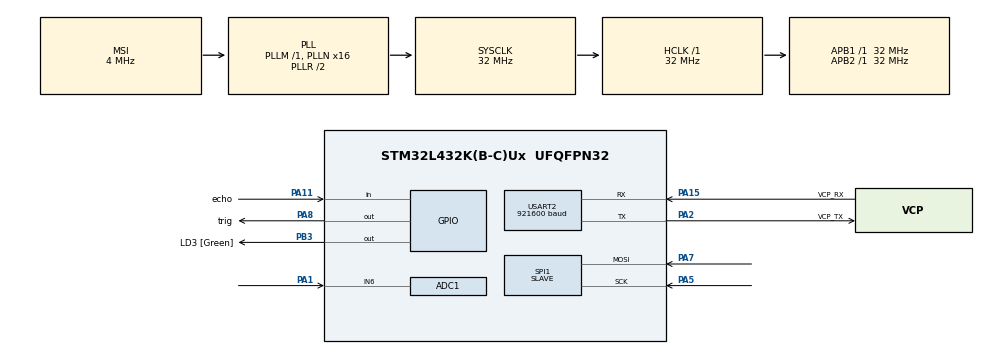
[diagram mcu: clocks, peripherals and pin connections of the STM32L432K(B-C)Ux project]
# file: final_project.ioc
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ADC1.Channel-0\#ChannelRegularConversion=ADC_CHANNEL_6
ADC1.NbrOfConversionFlag=1
ADC1.OffsetNumber-0\#ChannelRegularConversion=ADC_OFFSET_NONE
ADC1.Rank-0\#ChannelRegularConversion=1
ADC1.Resolution=ADC_RESOLUTION_8B
ADC1.SamplingTime-0\#ChannelRegularConversion=ADC_SAMPLETIME_2CYCLES_5
ADC1.master=1
Dma.Request0=SPI1_RX
Dma.Request1=USART2_TX
Dma.SPI1_RX.0.Direction=DMA_PERIPH_TO_MEMORY
Dma.SPI1_RX.0.Instance=DMA1_Channel2
Dma.SPI1_RX.0.MemDataAlignment=DMA_MDATAALIGN_HALFWORD
Dma.SPI1_RX.0.MemInc=DMA_MINC_ENABLE
Dma.SPI1_RX.0.Mode=DMA_CIRCULAR
Dma.SPI1_RX.0.PeriphDataAlignment=DMA_PDATAALIGN_HALFWORD
Dma.SPI1_RX.0.PeriphInc=DMA_PINC_DISABLE
Dma.SPI1_RX.0.Priority=DMA_PRIORITY_LOW
Dma.USART2_TX.1.Direction=DMA_MEMORY_TO_PERIPH
Dma.USART2_TX.1.Instance=DMA1_Channel7
Dma.USART2_TX.1.MemDataAlignment=DMA_MDATAALIGN_BYTE
Dma.USART2_TX.1.MemInc=DMA_MINC_ENABLE
Dma.USART2_TX.1.Mode=DMA_NORMAL
Dma.USART2_TX.1.PeriphDataAlignment=DMA_PDATAALIGN_BYTE
Dma.USART2_TX.1.PeriphInc=DMA_PINC_DISABLE
Dma.USART2_TX.1.Priority=DMA_PRIORITY_LOW
Mcu.Family=STM32L4
Mcu.Name=STM32L432K(B-C)Ux
Mcu.Package=UFQFPN32
NVIC.DMA1_Channel2_IRQn=true\:0\:0\:false\:false\:true\:false\:true\:true
NVIC.DMA1_Channel7_IRQn=true\:0\:0\:false\:false\:true\:false\:true\:true
NVIC.PriorityGroup=NVIC_PRIORITYGROUP_4
NVIC.USART2_IRQn=true\:0\:0\:false\:false\:true\:true\:true\:true
PA0.GPIO_Label=MCO [High speed clock in]
PA0.Mode=HSE-External-Clock-Source-for-LittleOrca
PA0.Signal=RCC_CK_IN
PA1.Signal=ADCx_IN6
PA11.GPIO_Label=echo
PA11.Signal=GPIO_Input
PA13\ (JTMS-SWDIO).GPIO_Label=SWDIO
PA13\ (JTMS-SWDIO).Mode=Serial_Wire
PA13\ (JTMS-SWDIO).Signal=SYS_JTMS-SWDIO
PA14\ (JTCK-SWCLK).GPIO_Label=SWCLK
PA14\ (JTCK-SWCLK).Mode=Serial_Wire
PA14\ (JTCK-SWCLK).Signal=SYS_JTCK-SWCLK
PA15\ (JTDI).GPIO_Label=VCP_RX
PA15\ (JTDI).Mode=Asynchronous
PA15\ (JTDI).Signal=USART2_RX
PA2.GPIO_Label=VCP_TX
PA2.Mode=Asynchronous
PA2.Signal=USART2_TX
PA5.Mode=RX_Only_Simplex_Unidirect_Slave
PA5.Signal=SPI1_SCK
PA7.Mode=RX_Only_Simplex_Unidirect_Slave
PA7.Signal=SPI1_MOSI
PA8.GPIO_Label=trig
PA8.Signal=GPIO_Output
PB3\ (JTDO-TRACESWO).GPIO_Label=LD3 [Green]
PB3\ (JTDO-TRACESWO).Signal=GPIO_Output
PC14-OSC32_IN\ (PC14).Mode=LSE-External-Oscillator
PC14-OSC32_IN\ (PC14).Signal=RCC_OSC32_IN
PC15-OSC32_OUT\ (PC15).Mode=LSE-External-Oscillator
PC15-OSC32_OUT\ (PC15).Signal=RCC_OSC32_OUT
ProjectManager.HeapSize=0x200
ProjectManager.StackSize=0x400
ProjectManager.TargetToolchain=STM32CubeIDE
RCC.ADCFreq_Value=32000000
RCC.AHBFreq_Value=32000000
RCC.APB1Freq_Value=32000000
RCC.APB1TimFreq_Value=32000000
RCC.APB2Freq_Value=32000000
RCC.APB2TimFreq_Value=32000000
RCC.CortexFreq_Value=32000000
RCC.HCLKFreq_Value=32000000
RCC.HSE_VALUE=8000000
RCC.HSI16_VALUE=16000000
RCC.HSI48_VALUE=48000000
RCC.HSI_VALUE=16000000
RCC.MSI_VALUE=4000000
RCC.PLLMUL=RCC_PLLMUL_4
RCC.PLLN=16
RCC.PLLSAI1N=16
RCC.SYSCLKFreq_VALUE=32000000
RCC.SYSCLKSource=RCC_SYSCLKSOURCE_PLLCLK
RCC.USBFreq_Value=32000000
RCC.VCOOutputFreq_Value=64000000
SH.ADCx_IN6.0=ADC1_IN6,IN6-Single-Ended
SPI1.DataSize=SPI_DATASIZE_16BIT
SPI1.Direction=SPI_DIRECTION_2LINES_RXONLY
SPI1.Mode=SPI_MODE_SLAVE
SPI1.VirtualType=VM_SLAVE
TIM16.Prescaler=31
TIM6.Prescaler=31999
TIM7.Prescaler=31
USART2.BaudRate=921600
USART2.VirtualMode-Asynchronous=VM_ASYNC
VP_TIM16_VS_ClockSourceINT.Mode=Enable_Timer
VP_TIM6_VS_ClockSourceINT.Mode=Enable_Timer
VP_TIM7_VS_ClockSourceINT.Mode=Enable_Timer
board=NUCLEO-L432KC

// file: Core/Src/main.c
/* USER CODE BEGIN Header */
/**
  ******************************************************************************
  * @file           : main.c
  * @brief          : Main program body
  ******************************************************************************
  * @attention
  *
  * Copyright (c) 2026 STMicroelectronics.
  * All rights reserved.
  *
  * This software is licensed under terms that can be found in the LICENSE file
  * in the root directory of this software component.
  * If no LICENSE file comes with this software, it is provided AS-IS.
  *
  ******************************************************************************
  */
/* USER CODE END Header */
#include "main.h"

ADC_HandleTypeDef hadc1;

SPI_HandleTypeDef hspi1;
DMA_HandleTypeDef hdma_spi1_rx;

TIM_HandleTypeDef htim6;
TIM_HandleTypeDef htim7;
TIM_HandleTypeDef htim16;

UART_HandleTypeDef huart2;
DMA_HandleTypeDef hdma_usart2_tx;

/* USER CODE BEGIN PV */
// Processing STM
uint16_t previous_sample = 0;
uint16_t first_sample = 1;
uint16_t current_sample = 0;
uint16_t filtered_sample = 0;
uint16_t avg;
uint8_t rx_byte[2] = {0,0};
uint8_t cmDist = 0;
int manual = 0;
int distance = 0;
int uart_rx_needs_rearm = 1;
int read = 0;
int timestart = 0;
int time = 0;
uint16_t spi_rx_buffer[4800];           // Circular buffer for incoming mic data
// 12 -> 8 is 1.5x 4800x1.5=3600
uint8_t uart_tx_buffer_half1[3600];    // Outgoing buffer for the first half
uint8_t uart_tx_buffer_half2[3600];    // Outgoing buffer for the second half
/* USER CODE END PV */

void SystemClock_Config(void);
static void MX_GPIO_Init(void);
static void MX_DMA_Init(void);
static void MX_USART2_UART_Init(void);
static void MX_SPI1_Init(void);
static void MX_TIM16_Init(void);
static void MX_ADC1_Init(void);
static void MX_TIM7_Init(void);
static void MX_TIM6_Init(void);

/* USER CODE BEGIN 0 */
// moving average filter of length 2 with outlier removal
uint16_t moving_average_filter(uint16_t current_sample){
    if (first_sample){
        avg = current_sample;
        first_sample = 0;
    } else {
		//filter out outliers and replace with previous sample (up to double down to half)
    	uint32_t upper = ((uint32_t)previous_sample+1)*2; //double
    	uint32_t lower = ((uint32_t)previous_sample+1)/2; //half
    	if((current_sample<lower) || (current_sample>upper)){
    		current_sample = previous_sample; // if not within replace with previous sample to remove
    	}
    	// find average
        avg = (previous_sample + current_sample) / 2;
    }
    previous_sample = current_sample;
    return avg;
}

// function to get cm value from ultrasonic sensor
int ultraRead(){
	// pulse the trigger for 10us
	__HAL_TIM_SET_COUNTER(&htim16, 0);
	HAL_GPIO_WritePin(trig_GPIO_Port, trig_Pin, 1);
	while(__HAL_TIM_GET_COUNTER(&htim16) <= 10){;}
	HAL_GPIO_WritePin(trig_GPIO_Port, trig_Pin, 0);

	// timeout variables
	uint32_t timeout_counter = 0;
	const uint32_t MAX_TIMEOUT_START = 4000; // 4ms max wait for sensor to react
	const uint32_t MAX_TIMEOUT_RETURN = 4000;

	// wait for Echo to go HIGH
	while(HAL_GPIO_ReadPin(echo_GPIO_Port,echo_Pin)==0){
		timeout_counter++;
		if (timeout_counter > MAX_TIMEOUT_START) {return 999;} // fake distance as error
	}

	__HAL_TIM_SET_COUNTER(&htim16, 0); // reset counter to 0 once echo is high

	// wait for Echo to go LOW (stays high while sound waves travel back)
	while(HAL_GPIO_ReadPin(echo_GPIO_Port,echo_Pin)==1){
		if (__HAL_TIM_GET_COUNTER(&htim16) > MAX_TIMEOUT_RETURN) {return 999;} // fake distance as error
	}

	// get time for the soundwave to return calculate and return distance (cm)
	int time = __HAL_TIM_GET_COUNTER(&htim16);
	int cm = time * 0.01715;
	return cm;
}

/* USER CODE END 0 */

int main(void)
{

  /* MCU Configuration--------------------------------------------------------*/

  /* Reset of all peripherals, Initializes the Flash interface and the Systick. */
  HAL_Init();

  /* Configure the system clock */
  SystemClock_Config();

  /* Initialize all configured peripherals */
  MX_GPIO_Init();
  MX_DMA_Init();
  MX_USART2_UART_Init();
  MX_SPI1_Init();
  MX_TIM16_Init();
  MX_ADC1_Init();
  MX_TIM7_Init();
  MX_TIM6_Init();

  /* Infinite loop */
  /* USER CODE BEGIN WHILE */
  uint32_t last_ping_time = 0;
  HAL_TIM_Base_Start(&htim7);
  HAL_TIM_Base_Start(&htim6);
  HAL_TIM_Base_Start(&htim16);
  while (1)
  {
	  	// restart the uart2 interrupt when needed
		if (uart_rx_needs_rearm) {
			if (HAL_UART_Receive_IT(&huart2, rx_byte, 2) == HAL_OK) {
				uart_rx_needs_rearm = 0;
			}
		}

		// send data for amount of time needed
		if (manual){
			if (!timestart){
				__HAL_TIM_SET_COUNTER(&htim6, 0);
				timestart = 1;
			} else if (__HAL_TIM_GET_COUNTER(&htim6) >= time+50) {
				HAL_SPI_DMAStop(&hspi1);
				timestart = 0;
				manual = 0;
			}
		}

		// send data when object within distance
		if (distance) {
			//schmitt triggering because of ultrasonic jitter
			uint8_t high = rx_byte[1] * 1.2;
			uint8_t low  = rx_byte[1] * 0.8;
			static int missing_count = 0;

			// check distance every 50 milliseconds
			if (HAL_GetTick() - last_ping_time > 100) {
				last_ping_time = HAL_GetTick(); // Reset the clock
				int current_dist = ultraRead(); //get distance

				if (current_dist < low && read==0) {
						read = 1; // object close, start recording
						// flush spi buffer before dma recording
						__HAL_SPI_CLEAR_OVRFLAG(&hspi1); // clear any overrun error
						uint32_t dummy;
						while (__HAL_SPI_GET_FLAG(&hspi1, SPI_FLAG_RXNE)) { // while receive buffer not empty
							dummy = hspi1.Instance->DR;  // read the spi data register into the dummy variable (not saved)
						}
						// start the recording
						HAL_SPI_Receive_DMA(&hspi1, spi_rx_buffer, 4800);

				} else if (current_dist > high && read==1) {
					// due to unreliability make sure 5 reading in a row have no object before turning off
					missing_count++;
					if (missing_count >= 5) {
					  HAL_SPI_DMAStop(&hspi1);
					  read = 0;
					}
				} else if (current_dist < high) {
					// reset the counter if object has return within 5 readings
					missing_count = 0;
				}
			}
		}
    /* USER CODE END WHILE */

  }
}

void SystemClock_Config(void)
{
  RCC_OscInitTypeDef RCC_OscInitStruct = {0};
  RCC_ClkInitTypeDef RCC_ClkInitStruct = {0};

  /** Configure the main internal regulator output voltage
  */
  if (HAL_PWREx_ControlVoltageScaling(PWR_REGULATOR_VOLTAGE_SCALE1) != HAL_OK)
  {
    Error_Handler();
  }

  /** Configure LSE Drive Capability
  */
  HAL_PWR_EnableBkUpAccess();
  __HAL_RCC_LSEDRIVE_CONFIG(RCC_LSEDRIVE_LOW);

  /** Initializes the RCC Oscillators according to the specified parameters
  * in the RCC_OscInitTypeDef structure.
  */
  RCC_OscInitStruct.OscillatorType = RCC_OSCILLATORTYPE_LSE|RCC_OSCILLATORTYPE_MSI;
  RCC_OscInitStruct.LSEState = RCC_LSE_ON;
  RCC_OscInitStruct.MSIState = RCC_MSI_ON;
  RCC_OscInitStruct.MSICalibrationValue = 0;
  RCC_OscInitStruct.MSIClockRange = RCC_MSIRANGE_6;
  RCC_OscInitStruct.PLL.PLLState = RCC_PLL_ON;
  RCC_OscInitStruct.PLL.PLLSource = RCC_PLLSOURCE_MSI;
  RCC_OscInitStruct.PLL.PLLM = 1;
  RCC_OscInitStruct.PLL.PLLN = 16;
  RCC_OscInitStruct.PLL.PLLP = RCC_PLLP_DIV7;
  RCC_OscInitStruct.PLL.PLLQ = RCC_PLLQ_DIV2;
  RCC_OscInitStruct.PLL.PLLR = RCC_PLLR_DIV2;
  if (HAL_RCC_OscConfig(&RCC_OscInitStruct) != HAL_OK)
  {
    Error_Handler();
  }

  /** Initializes the CPU, AHB and APB buses clocks
  */
  RCC_ClkInitStruct.ClockType = RCC_CLOCKTYPE_HCLK|RCC_CLOCKTYPE_SYSCLK
                              |RCC_CLOCKTYPE_PCLK1|RCC_CLOCKTYPE_PCLK2;
  RCC_ClkInitStruct.SYSCLKSource = RCC_SYSCLKSOURCE_PLLCLK;
  RCC_ClkInitStruct.AHBCLKDivider = RCC_SYSCLK_DIV1;
  RCC_ClkInitStruct.APB1CLKDivider = RCC_HCLK_DIV1;
  RCC_ClkInitStruct.APB2CLKDivider = RCC_HCLK_DIV1;

  if (HAL_RCC_ClockConfig(&RCC_ClkInitStruct, FLASH_LATENCY_1) != HAL_OK)
  {
    Error_Handler();
  }

  /** Enable MSI Auto calibration
  */
  HAL_RCCEx_EnableMSIPLLMode();
}

static void MX_ADC1_Init(void)
{

  ADC_ChannelConfTypeDef sConfig = {0};

  /** Common config
  */
  hadc1.Instance = ADC1;
  hadc1.Init.ClockPrescaler = ADC_CLOCK_ASYNC_DIV1;
  hadc1.Init.Resolution = ADC_RESOLUTION_8B;
  hadc1.Init.DataAlign = ADC_DATAALIGN_RIGHT;
  hadc1.Init.ScanConvMode = ADC_SCAN_DISABLE;
  hadc1.Init.EOCSelection = ADC_EOC_SINGLE_CONV;
  hadc1.Init.LowPowerAutoWait = DISABLE;
  hadc1.Init.ContinuousConvMode = DISABLE;
  hadc1.Init.NbrOfConversion = 1;
  hadc1.Init.DiscontinuousConvMode = DISABLE;
  hadc1.Init.ExternalTrigConv = ADC_SOFTWARE_START;
  hadc1.Init.ExternalTrigConvEdge = ADC_EXTERNALTRIGCONVEDGE_NONE;
  hadc1.Init.DMAContinuousRequests = DISABLE;
  hadc1.Init.Overrun = ADC_OVR_DATA_PRESERVED;
  hadc1.Init.OversamplingMode = DISABLE;
  if (HAL_ADC_Init(&hadc1) != HAL_OK)
  {
    Error_Handler();
  }

  /** Configure Regular Channel
  */
  sConfig.Channel = ADC_CHANNEL_6;
  sConfig.Rank = ADC_REGULAR_RANK_1;
  sConfig.SamplingTime = ADC_SAMPLETIME_2CYCLES_5;
  sConfig.SingleDiff = ADC_SINGLE_ENDED;
  sConfig.OffsetNumber = ADC_OFFSET_NONE;
  sConfig.Offset = 0;
  if (HAL_ADC_ConfigChannel(&hadc1, &sConfig) != HAL_OK)
  {
    Error_Handler();
  }

}

static void MX_SPI1_Init(void)
{

  /* SPI1 parameter configuration*/
  hspi1.Instance = SPI1;
  hspi1.Init.Mode = SPI_MODE_SLAVE;
  hspi1.Init.Direction = SPI_DIRECTION_2LINES_RXONLY;
  hspi1.Init.DataSize = SPI_DATASIZE_16BIT;
  hspi1.Init.CLKPolarity = SPI_POLARITY_LOW;
  hspi1.Init.CLKPhase = SPI_PHASE_1EDGE;
  hspi1.Init.NSS = SPI_NSS_SOFT;
  hspi1.Init.FirstBit = SPI_FIRSTBIT_MSB;
  hspi1.Init.TIMode = SPI_TIMODE_DISABLE;
  hspi1.Init.CRCCalculation = SPI_CRCCALCULATION_DISABLE;
  hspi1.Init.CRCPolynomial = 7;
  hspi1.Init.CRCLength = SPI_CRC_LENGTH_DATASIZE;
  hspi1.Init.NSSPMode = SPI_NSS_PULSE_DISABLE;
  if (HAL_SPI_Init(&hspi1) != HAL_OK)
  {
    Error_Handler();
  }

}

static void MX_TIM6_Init(void)
{

  TIM_MasterConfigTypeDef sMasterConfig = {0};

  htim6.Instance = TIM6;
  htim6.Init.Prescaler = 31999;
  htim6.Init.CounterMode = TIM_COUNTERMODE_UP;
  htim6.Init.Period = 65535;
  htim6.Init.AutoReloadPreload = TIM_AUTORELOAD_PRELOAD_DISABLE;
  if (HAL_TIM_Base_Init(&htim6) != HAL_OK)
  {
    Error_Handler();
  }
  sMasterConfig.MasterOutputTrigger = TIM_TRGO_RESET;
  sMasterConfig.MasterSlaveMode = TIM_MASTERSLAVEMODE_DISABLE;
  if (HAL_TIMEx_MasterConfigSynchronization(&htim6, &sMasterConfig) != HAL_OK)
  {
    Error_Handler();
  }

}

static void MX_TIM7_Init(void)
{

  TIM_MasterConfigTypeDef sMasterConfig = {0};

  htim7.Instance = TIM7;
  htim7.Init.Prescaler = 31;
  htim7.Init.CounterMode = TIM_COUNTERMODE_UP;
  htim7.Init.Period = 65535;
  htim7.Init.AutoReloadPreload = TIM_AUTORELOAD_PRELOAD_DISABLE;
  if (HAL_TIM_Base_Init(&htim7) != HAL_OK)
  {
    Error_Handler();
  }
  sMasterConfig.MasterOutputTrigger = TIM_TRGO_RESET;
  sMasterConfig.MasterSlaveMode = TIM_MASTERSLAVEMODE_DISABLE;
  if (HAL_TIMEx_MasterConfigSynchronization(&htim7, &sMasterConfig) != HAL_OK)
  {
    Error_Handler();
  }

}

static void MX_TIM16_Init(void)
{

  htim16.Instance = TIM16;
  htim16.Init.Prescaler = 31;
  htim16.Init.CounterMode = TIM_COUNTERMODE_UP;
  htim16.Init.Period = 65535;
  htim16.Init.ClockDivision = TIM_CLOCKDIVISION_DIV1;
  htim16.Init.RepetitionCounter = 0;
  htim16.Init.AutoReloadPreload = TIM_AUTORELOAD_PRELOAD_DISABLE;
  if (HAL_TIM_Base_Init(&htim16) != HAL_OK)
  {
    Error_Handler();
  }

}

static void MX_USART2_UART_Init(void)
{

  huart2.Instance = USART2;
  huart2.Init.BaudRate = 921600;
  huart2.Init.WordLength = UART_WORDLENGTH_8B;
  huart2.Init.StopBits = UART_STOPBITS_1;
  huart2.Init.Parity = UART_PARITY_NONE;
  huart2.Init.Mode = UART_MODE_TX_RX;
  huart2.Init.HwFlowCtl = UART_HWCONTROL_NONE;
  huart2.Init.OverSampling = UART_OVERSAMPLING_16;
  huart2.Init.OneBitSampling = UART_ONE_BIT_SAMPLE_DISABLE;
  huart2.AdvancedInit.AdvFeatureInit = UART_ADVFEATURE_NO_INIT;
  if (HAL_UART_Init(&huart2) != HAL_OK)
  {
    Error_Handler();
  }

}

static void MX_DMA_Init(void)
{

  /* DMA controller clock enable */
  __HAL_RCC_DMA1_CLK_ENABLE();

  /* DMA interrupt init */
  /* DMA1_Channel2_IRQn interrupt configuration */
  HAL_NVIC_SetPriority(DMA1_Channel2_IRQn, 0, 0);
  HAL_NVIC_EnableIRQ(DMA1_Channel2_IRQn);
  /* DMA1_Channel7_IRQn interrupt configuration */
  HAL_NVIC_SetPriority(DMA1_Channel7_IRQn, 0, 0);
  HAL_NVIC_EnableIRQ(DMA1_Channel7_IRQn);

}

static void MX_GPIO_Init(void)
{
  GPIO_InitTypeDef GPIO_InitStruct = {0};

  /* GPIO Ports Clock Enable */
  __HAL_RCC_GPIOC_CLK_ENABLE();
  __HAL_RCC_GPIOA_CLK_ENABLE();
  __HAL_RCC_GPIOB_CLK_ENABLE();

  /*Configure GPIO pin Output Level */
  HAL_GPIO_WritePin(trig_GPIO_Port, trig_Pin, GPIO_PIN_RESET);

  /*Configure GPIO pin Output Level */
  HAL_GPIO_WritePin(LD3_GPIO_Port, LD3_Pin, GPIO_PIN_RESET);

  /*Configure GPIO pin : trig_Pin */
  GPIO_InitStruct.Pin = trig_Pin;
  GPIO_InitStruct.Mode = GPIO_MODE_OUTPUT_PP;
  GPIO_InitStruct.Pull = GPIO_NOPULL;
  GPIO_InitStruct.Speed = GPIO_SPEED_FREQ_LOW;
  HAL_GPIO_Init(trig_GPIO_Port, &GPIO_InitStruct);

  /*Configure GPIO pin : echo_Pin */
  GPIO_InitStruct.Pin = echo_Pin;
  GPIO_InitStruct.Mode = GPIO_MODE_INPUT;
  GPIO_InitStruct.Pull = GPIO_NOPULL;
  HAL_GPIO_Init(echo_GPIO_Port, &GPIO_InitStruct);

  /*Configure GPIO pin : LD3_Pin */
  GPIO_InitStruct.Pin = LD3_Pin;
  GPIO_InitStruct.Mode = GPIO_MODE_OUTPUT_PP;
  GPIO_InitStruct.Pull = GPIO_NOPULL;
  GPIO_InitStruct.Speed = GPIO_SPEED_FREQ_LOW;
  HAL_GPIO_Init(LD3_GPIO_Port, &GPIO_InitStruct);

}

/* USER CODE BEGIN 4 */
void HAL_UART_RxCpltCallback(UART_HandleTypeDef *huart){
	// message from laptop accepted by an interupt
	if (huart->Instance == USART2){

		if(rx_byte[0]=='M'){
			// if mode is M (Manual) then manual true and make sure distance false
			manual = 1;
			distance = 0;
			HAL_GPIO_WritePin(LD3_GPIO_Port, LD3_Pin, 1); // turn on debug to see it is working
			time = rx_byte[1] * 1000;

			// flush spi buffer before dma recording
			__HAL_SPI_CLEAR_OVRFLAG(&hspi1); // clear any overrun error
			uint32_t dummy;
			while (__HAL_SPI_GET_FLAG(&hspi1, SPI_FLAG_RXNE)) { // while spi receive buffer not empty
				dummy = hspi1.Instance->DR;  // read the spi data register into the dummy variable (not saved)
			}
			// since Manual we can straight away activate the DMA
			HAL_SPI_Receive_DMA(&hspi1, spi_rx_buffer, 4800);

		} else if (rx_byte[0]=='D'){
			// if mode is D (Distance) the distance true make sure manual is false
			manual = 0;
			distance = 1;
			HAL_GPIO_WritePin(LD3_GPIO_Port, LD3_Pin, 1); // turn on debug to see it is working
			// cant turn on dma straight away as we need to check for distance

		} else if (rx_byte[0]=='O'){
			// if mode is O (OFF) the make sure manual and distance false and make sure dma is stopped
			HAL_SPI_DMAStop(&hspi1);
			HAL_GPIO_WritePin(LD3_GPIO_Port, LD3_Pin, 0);
			manual = 0;
			distance = 0;
	        first_sample = 1; // make sure next recording set has a first sample for filter
			timestart = 0; // make sure timer will start for next manual session
		}
	}
	// restart interupt to detect new messages
	uart_rx_needs_rearm = 1;
}

// TRIGGER 1: dma is halfway done (bytes 0 to 2400 are ready)
void HAL_SPI_RxHalfCpltCallback(SPI_HandleTypeDef *hspi) {
    if (hspi->Instance == SPI1) {
        int out_idx = 0;
        for(int i = 0; i < 2400; i += 2) {
        	// send through filter
            uint16_t s1 = moving_average_filter(spi_rx_buffer[i]);
            uint16_t s2 = moving_average_filter(spi_rx_buffer[i + 1]);

            // Pack two 12-bit samples into three 8-bit bytes
            uart_tx_buffer_half1[out_idx++] = (s1 >> 4) & 0xFF;                         // Top 8 bits of s1
            uart_tx_buffer_half1[out_idx++] = ((s1 & 0x0F) << 4) | ((s2 >> 8) & 0x0F);  // Bottom 4 of s1 + Top 4 of s2
            uart_tx_buffer_half1[out_idx++] = s2 & 0xFF;                                // Bottom 8 bits of s2
        }
        HAL_UART_Transmit_DMA(&huart2, uart_tx_buffer_half1, 3600); // Change to 1800
    }
}

// TRIGGER 2: dma is fully done (bytes 2400 to 4800 are ready)
void HAL_SPI_RxCpltCallback(SPI_HandleTypeDef *hspi) {
    if (hspi->Instance == SPI1) {
        int out_idx = 0;

        for(int i = 0; i < 2400; i += 2) {
        	// send through filter
            uint16_t s1 = moving_average_filter(spi_rx_buffer[i + 2400]);
            uint16_t s2 = moving_average_filter(spi_rx_buffer[i + 2401]);

            uart_tx_buffer_half2[out_idx++] = (s1 >> 4) & 0xFF;
            uart_tx_buffer_half2[out_idx++] = ((s1 & 0x0F) << 4) | ((s2 >> 8) & 0x0F);
            uart_tx_buffer_half2[out_idx++] = s2 & 0xFF;
        }
        HAL_UART_Transmit_DMA(&huart2, uart_tx_buffer_half2, 3600); // Change to 1800
    }
}

/* USER CODE END 4 */

void Error_Handler(void)
{
  __disable_irq();
  while (1)
  {
  }
}
